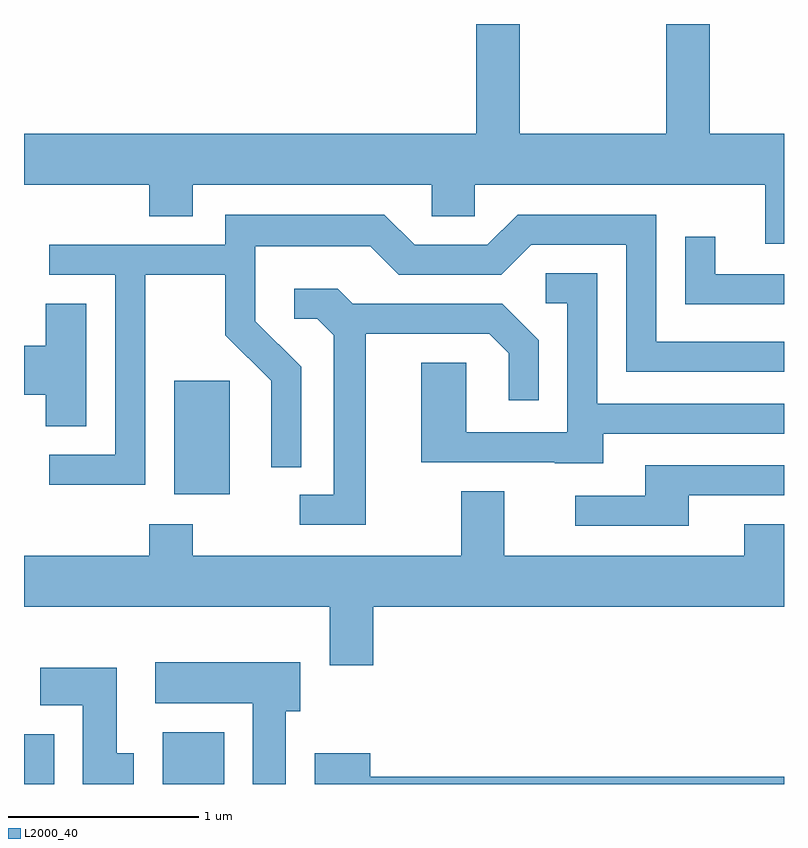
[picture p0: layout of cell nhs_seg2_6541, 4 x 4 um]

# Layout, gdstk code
import gdstk
lib = gdstk.Library(unit=1e-6, precision=1e-09)
def R(c, l, rs):  # rectangles x0, y0, x1, y1
    for r in rs: c.add(gdstk.rectangle(r[:2], r[2:], *l))
def P(c, l, *ps):  # polygons
    for p in ps: c.add(gdstk.Polygon(p, *l))
L2000_40 = (2000, 40)

nhs_seg2_6541 = lib.new_cell('nhs_seg2_6541')
R(nhs_seg2_6541, L2000_40, [(377.611,1071.802,377.769,1072.064), (378.341,1071.802,378.664,1072.074), (378.401,1073.326,378.694,1073.924)])
P(nhs_seg2_6541, L2000_40, [(381.611,1075.224),(381.219,1075.224),(381.219,1075.802),(380.991,1075.802),(380.991,1075.224),(380.219,1075.224),(380.219,1075.802),(379.991,1075.802),(379.991,1075.224),(377.611,1075.224),(377.611,1074.956),(378.271,1074.956),(378.271,1074.791),(378.499,1074.791),(378.499,1074.956),(379.756,1074.956),(379.756,1074.791),(379.984,1074.791),(379.984,1074.956),(381.511,1074.956),(381.511,1074.646),(381.611,1074.646)],
  [(378.249,1074.481),(378.671,1074.481),(378.671,1074.164),(378.911,1073.924),(378.911,1073.468),(379.069,1073.468),(379.069,1073.997),(378.829,1074.237),(378.829,1074.631),(379.434,1074.631),(379.584,1074.481),(380.122,1074.481),(380.282,1074.641),(380.781,1074.641),(380.781,1073.971),(381.611,1073.971),(381.611,1074.129),(380.939,1074.129),(380.939,1074.799),(380.209,1074.799),(380.049,1074.639),(379.667,1074.639),(379.507,1074.799),(378.671,1074.799),(378.671,1074.639),(377.743,1074.639),(377.743,1074.481),(378.091,1074.481),(378.091,1073.534),(377.743,1073.534),(377.743,1073.376),(378.249,1073.376)],
  [(381.611,1074.484),(381.249,1074.484),(381.249,1074.683),(381.091,1074.683),(381.091,1074.326),(381.611,1074.326)],
  [(380.659,1073.646),(381.611,1073.646),(381.611,1073.804),(380.629,1073.804),(380.629,1074.489),(380.358,1074.489),(380.358,1074.331),(380.471,1074.331),(380.471,1073.654),(379.939,1073.654),(379.939,1074.019),(379.701,1074.019),(379.701,1073.496),(380.405,1073.496),(380.405,1073.491),(380.659,1073.491)],
  [(379.409,1074.171),(380.059,1074.171),(380.161,1074.069),(380.161,1073.823),(380.319,1073.823),(380.319,1074.137),(380.127,1074.329),(379.342,1074.329),(379.262,1074.409),(379.033,1074.409),(379.033,1074.251),(379.154,1074.251),(379.241,1074.164),(379.241,1073.324),(379.063,1073.324),(379.063,1073.166),(379.409,1073.166)],
  [(377.939,1074.329),(377.726,1074.329),(377.726,1074.109),(377.611,1074.109),(377.611,1073.851),(377.726,1073.851),(377.726,1073.686),(377.939,1073.686)],
  [(381.109,1073.321),(381.611,1073.321),(381.611,1073.479),(380.881,1073.479),(380.881,1073.319),(380.513,1073.319),(380.513,1073.161),(381.109,1073.161)],
  [(379.449,1072.736),(381.611,1072.736),(381.611,1073.169),(381.401,1073.169),(381.401,1073.004),(380.139,1073.004),(380.139,1073.344),(379.911,1073.344),(379.911,1073.004),(378.499,1073.004),(378.499,1073.169),(378.271,1073.169),(378.271,1073.004),(377.611,1073.004),(377.611,1072.736),(379.221,1072.736),(379.221,1072.426),(379.449,1072.426)],
  [(378.989,1072.186),(379.064,1072.186),(379.064,1072.444),(378.301,1072.444),(378.301,1072.226),(378.816,1072.226),(378.816,1071.802),(378.989,1071.802)],
  [(378.189,1071.964),(378.099,1071.964),(378.099,1072.414),(377.696,1072.414),(377.696,1072.216),(377.921,1072.216),(377.921,1071.802),(378.189,1071.802)],
  [(381.611,1071.839),(379.434,1071.839),(379.434,1071.964),(379.141,1071.964),(379.141,1071.802),(381.611,1071.802)])

lib.write_gds('nhs_seg2_6541.gds')
